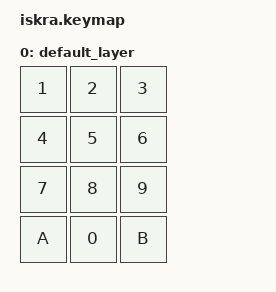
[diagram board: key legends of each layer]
#include <behaviors.dtsi>
#include <dt-bindings/zmk/keys.h>
#include <dt-bindings/zmk/bt.h>

/ {
    keymap {
        compatible = "zmk,keymap";

        default_layer {
            bindings = <
                &kp 1 &kp 2 &kp 3
                &kp 4 &kp 5 &kp 6
                &kp 7 &kp 8 &kp 9
                &kp A &kp 0 &kp B
            >;
        };
    };
};
